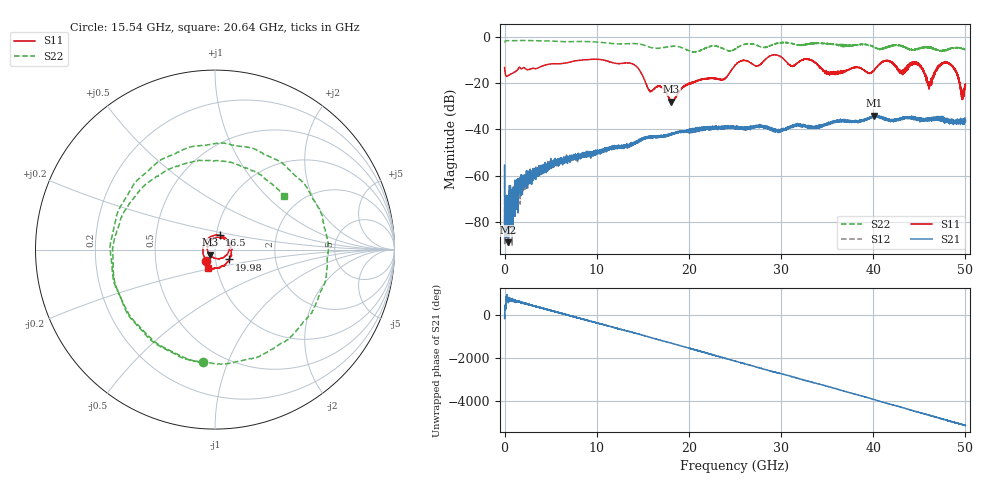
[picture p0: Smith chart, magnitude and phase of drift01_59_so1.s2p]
!Created with skrf (http://scikit-rf.org).
# Hz S RI R 50.0
!freq ReS11 ImS11 ReS21 ImS21 ReS12 ImS12 ReS22 ImS22
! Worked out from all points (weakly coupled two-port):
!   10001 points, 300 kHz to 50 GHz, reference 50 ohm
!   highest |S21| = -34.08 dB at 40.07 GHz (marker M1); lowest = -89.0 dB at 395.3 MHz (marker M2)
!   lowest |S11| = -27.9 dB at 18.1 GHz (marker M3), VSWR 1.08, Z = 47.1 - j2.61 ohm
!   |S11| at or under -10 dB: start of sweep to 8.034 GHz; 10.9 GHz to 25.86 GHz (14.96 GHz wide, 81.4 % of centre); 33.35 GHz to end of sweep (the widest 3 of 18)
!   |S22| runs from -6.4 to -1.4 dB; largest |S21 - S12| = 0.0038
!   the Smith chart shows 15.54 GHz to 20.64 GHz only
!   S11 on the Smith chart (normalised r, x): 15.54 GHz: 0.90, -0.11; 16.5 GHz: 1.04, +0.17; 19.98 GHz: 1.17, -0.13; 20.64 GHz: 0.91, -0.18
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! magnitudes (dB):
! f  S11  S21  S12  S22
! 300 kHz  -13.1  -55.5  -56.1  -2.1
! 255.3 MHz  -16.9  -77.9  -75.2  -1.4
! 395.3 MHz  -16.6  -89.0  -72.2  -1.4
! 2.86 GHz  -13.7  -60.3  -57.9  -1.4
! 8.335 GHz  -9.9  -51.8  -52.3  -1.8
! 13.86 GHz  -11.5  -46.4  -46.0  -2.7
! 15.54 GHz  -21.9  -43.5  -43.1  -4.0
! 16.5 GHz  -21.5  -43.2  -42.8  -4.8
! 16.67 GHz  -21.2  -43.0  -43.1  -4.8
! 18.1 GHz  -27.9  -42.0  -42.1  -4.0
! 19.98 GHz  -20.3  -41.0  -40.9  -5.7
! 20.64 GHz  -19.3  -40.0  -40.0  -6.3
! 25 GHz  -12.2  -39.2  -39.3  -5.0
! 33.34 GHz  -10.1  -38.8  -39.0  -2.8
! 35.14 GHz  -15.3  -37.4  -37.5  -2.8
! 40.07 GHz  -14.5  -34.1  -34.4  -4.2
! 41.67 GHz  -10.1  -36.3  -36.0  -4.1
! 43.07 GHz  -15.7  -35.3  -35.5  -3.6
! 44.8 GHz  -11.6  -35.0  -35.4  -5.0
! 46.11 GHz  -20.2  -36.1  -35.5  -4.6
! 48.04 GHz  -11.2  -35.9  -36.0  -5.5
! 50 GHz  -20.7  -36.5  -36.1  -5.3
